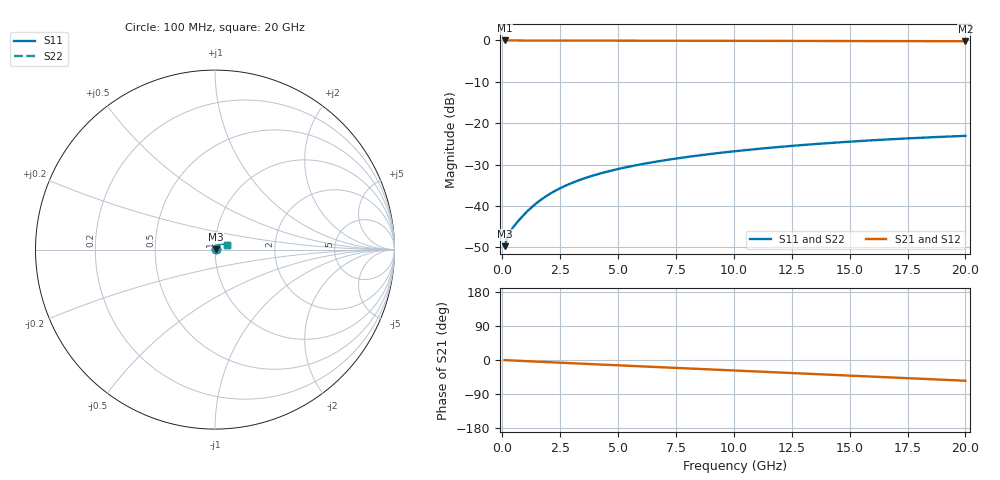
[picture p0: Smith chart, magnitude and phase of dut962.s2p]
! Touchstone file exported from HFSS 2026.1.0
!  File:  C:/ffzhzh/LocalFiles/Ansys_Project_Files/temp_train_BSMRDL_962_1783172467_22436.aedt
!  Generated:  09:42:24 PM Jul  4, 2026
!  Design:  BSMRDL
!  Project:  temp_train_BSMRDL_962_1783172467_22436
! Variables:
!  h_bsmrdl = 5.45um
!  h_ox = 20um
!  h_rdl = 5um
!  h_sub = 80um
!  h_tmrdl = 5um
!  h_tsv = 80um
!  h_via = 3um
!  l_bsmrdl = 984.7um
!  l_sub = 1384.7um
!  l_tmrdl = 200um
!  m_sub = 200um
!  pitch = 31.19um
!  r_tsv = 6um
!  s_tmrdl = 10um
!  w_bsmrdl = 24.17um
!  w_sub = 500um
!  w_tmrdl = 12um
!  x_tsv_center1 = 206um
!  x_tsv_center2 = 1214.87um
!  x_tsv_center3 = 1426.87um
!  x_tsv_center4 = 2435.74um
!  x_tsv_center5 = 2647.74um
!  x_tsv_center6 = 3656.61um
# GHz S MA R 50.000000
! Terminal data exported
! Port[1] = BSM_RDL1_1_T1
! Port[2] = BSM_RDL1_1_T2
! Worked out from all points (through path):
!   200 points, 100 MHz to 20 GHz, reference 50 ohm
!   highest |S21| = -0.03 dB at 100 MHz (marker M1); lowest = -0.2 dB at 20 GHz (marker M2)
!   group delay of S21, straight-line fit = 7.57 ps
!   lowest |S11| = -49.7 dB at 100 MHz (marker M3), VSWR 1.01, Z = 50.3 + j0.125 ohm
!   |S11| at or under -10 dB: start of sweep to end of sweep
!   |S22| runs from -49.7 to -23.1 dB; largest |S21 - S12| = 6.1e-15
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0.1  0.003266 22.4  0.997 -0.3  0.997 -0.3  0.003266 22.4
! Gamma 0 0 0 0
! Port Impedance 50 0 50 0
0.2  0.004071 30.4  0.9965 -0.6  0.9965 -0.6  0.004071 30.4
0.3  0.00469 34.3  0.9962 -0.9  0.9962 -0.9  0.00469 34.3
0.4  0.005198 37.5  0.996 -1.2  0.996 -1.2  0.005197 37.5
0.6  0.006144 43.4  0.9957 -1.8  0.9957 -1.8  0.006144 43.4
0.8  0.007132 48.1  0.9955 -2.3  0.9955 -2.3  0.007131 48.1
1  0.008177 51.6  0.9953 -2.9  0.9953 -2.9  0.008176 51.6
1.3  0.009814 55.1  0.9949 -3.7  0.9949 -3.7  0.009812 55.1
1.8  0.01259 57.8  0.9942 -5.2  0.9942 -5.2  0.01259 57.8
2.3  0.01532 58.5  0.9935 -6.6  0.9935 -6.6  0.01531 58.6
2.9  0.01843 58.1  0.9925 -8.3  0.9925 -8.3  0.01842 58.2
3.5  0.02135 57.1  0.9915 -9.9  0.9915 -9.9  0.02134 57.2
4.2  0.02454 55.7  0.9903 -11.9  0.9903 -11.9  0.02452 55.8
4.9  0.02751 54.1  0.9893 -13.8  0.9893 -13.8  0.02749 54.3
5.8  0.0311 52.1  0.9881 -16.2  0.9881 -16.2  0.03107 52.3
6.8  0.03484 49.9  0.9868 -19.0  0.9868 -19.0  0.03481 50.2
8.3  0.04011 46.7  0.9852 -23.1  0.9852 -23.1  0.04007 46.9
10.1  0.04599 42.7  0.9834 -27.9  0.9834 -27.9  0.04593 43.0
11.7  0.05083 39.1  0.982 -32.3  0.982 -32.3  0.05076 39.5
13.4  0.05561 35.1  0.9806 -36.9  0.9806 -36.9  0.05552 35.6
16.7  0.06371 27.3  0.9781 -45.8  0.9781 -45.8  0.06359 27.9
20  0.07021 19.3  0.9758 -54.7  0.9758 -54.7  0.07006 20.0
